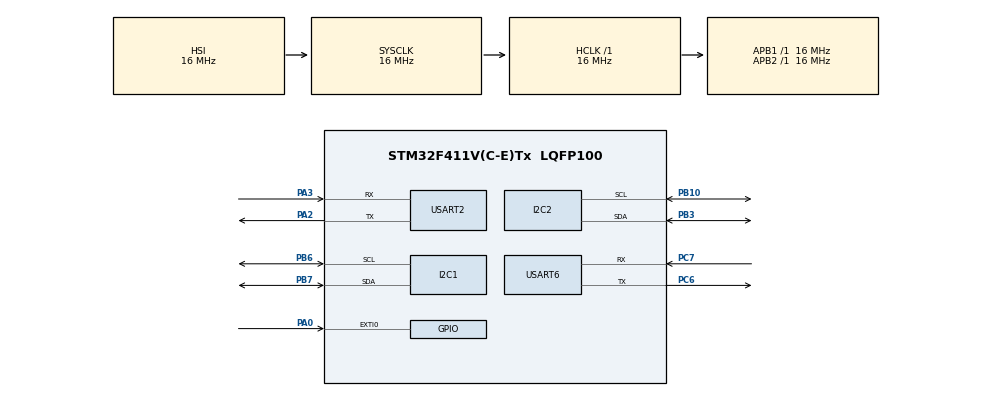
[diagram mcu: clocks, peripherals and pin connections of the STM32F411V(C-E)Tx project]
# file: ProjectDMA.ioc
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Dma.I2C1_RX.0.Direction=DMA_PERIPH_TO_MEMORY
Dma.I2C1_RX.0.FIFOMode=DMA_FIFOMODE_DISABLE
Dma.I2C1_RX.0.Instance=DMA1_Stream0
Dma.I2C1_RX.0.MemDataAlignment=DMA_MDATAALIGN_BYTE
Dma.I2C1_RX.0.MemInc=DMA_MINC_ENABLE
Dma.I2C1_RX.0.Mode=DMA_NORMAL
Dma.I2C1_RX.0.PeriphDataAlignment=DMA_PDATAALIGN_BYTE
Dma.I2C1_RX.0.PeriphInc=DMA_PINC_DISABLE
Dma.I2C1_RX.0.Priority=DMA_PRIORITY_MEDIUM
Dma.I2C1_TX.1.Direction=DMA_MEMORY_TO_PERIPH
Dma.I2C1_TX.1.FIFOMode=DMA_FIFOMODE_DISABLE
Dma.I2C1_TX.1.Instance=DMA1_Stream1
Dma.I2C1_TX.1.MemDataAlignment=DMA_MDATAALIGN_BYTE
Dma.I2C1_TX.1.MemInc=DMA_MINC_ENABLE
Dma.I2C1_TX.1.Mode=DMA_NORMAL
Dma.I2C1_TX.1.PeriphDataAlignment=DMA_PDATAALIGN_BYTE
Dma.I2C1_TX.1.PeriphInc=DMA_PINC_DISABLE
Dma.I2C1_TX.1.Priority=DMA_PRIORITY_MEDIUM
Dma.I2C2_RX.2.Direction=DMA_PERIPH_TO_MEMORY
Dma.I2C2_RX.2.FIFOMode=DMA_FIFOMODE_DISABLE
Dma.I2C2_RX.2.Instance=DMA1_Stream2
Dma.I2C2_RX.2.MemDataAlignment=DMA_MDATAALIGN_BYTE
Dma.I2C2_RX.2.MemInc=DMA_MINC_ENABLE
Dma.I2C2_RX.2.Mode=DMA_NORMAL
Dma.I2C2_RX.2.PeriphDataAlignment=DMA_PDATAALIGN_BYTE
Dma.I2C2_RX.2.PeriphInc=DMA_PINC_DISABLE
Dma.I2C2_RX.2.Priority=DMA_PRIORITY_MEDIUM
Dma.I2C2_TX.3.Direction=DMA_MEMORY_TO_PERIPH
Dma.I2C2_TX.3.FIFOMode=DMA_FIFOMODE_DISABLE
Dma.I2C2_TX.3.Instance=DMA1_Stream7
Dma.I2C2_TX.3.MemDataAlignment=DMA_MDATAALIGN_BYTE
Dma.I2C2_TX.3.MemInc=DMA_MINC_ENABLE
Dma.I2C2_TX.3.Mode=DMA_NORMAL
Dma.I2C2_TX.3.PeriphDataAlignment=DMA_PDATAALIGN_BYTE
Dma.I2C2_TX.3.PeriphInc=DMA_PINC_DISABLE
Dma.I2C2_TX.3.Priority=DMA_PRIORITY_MEDIUM
Dma.Request0=I2C1_RX
Dma.Request1=I2C1_TX
Dma.Request2=I2C2_RX
Dma.Request3=I2C2_TX
Mcu.Family=STM32F4
Mcu.Name=STM32F411V(C-E)Tx
Mcu.Package=LQFP100
NVIC.DMA1_Stream0_IRQn=true\:0\:0\:false\:false\:true\:true\:false\:true\:true
NVIC.DMA1_Stream1_IRQn=true\:0\:0\:false\:false\:true\:true\:false\:true\:true
NVIC.DMA1_Stream2_IRQn=true\:0\:0\:false\:false\:true\:true\:false\:true\:true
NVIC.DMA1_Stream7_IRQn=true\:0\:0\:false\:false\:true\:true\:false\:true\:true
NVIC.EXTI0_IRQn=true\:0\:0\:false\:false\:true\:false\:true\:true\:true
NVIC.I2C1_ER_IRQn=true\:0\:0\:false\:false\:true\:false\:true\:true\:true
NVIC.I2C1_EV_IRQn=true\:0\:0\:false\:false\:true\:false\:true\:true\:true
NVIC.I2C2_ER_IRQn=true\:0\:0\:false\:false\:true\:false\:true\:true\:true
NVIC.I2C2_EV_IRQn=true\:0\:0\:false\:false\:true\:false\:true\:true\:true
NVIC.PriorityGroup=NVIC_PRIORITYGROUP_4
PA0-WKUP.GPIO_PuPd=GPIO_PULLDOWN
PA0-WKUP.Signal=GPXTI0
PA2.Mode=Asynchronous
PA2.Signal=USART2_TX
PA3.Mode=Asynchronous
PA3.Signal=USART2_RX
PB10.Mode=I2C
PB10.Signal=I2C2_SCL
PB3.Mode=I2C
PB3.Signal=I2C2_SDA
PB6.Mode=I2C
PB6.Signal=I2C1_SCL
PB7.Mode=I2C
PB7.Signal=I2C1_SDA
PC6.Mode=Asynchronous
PC6.Signal=USART6_TX
PC7.Mode=Asynchronous
PC7.Signal=USART6_RX
PH0\ -\ OSC_IN.Mode=HSE-External-Oscillator
PH0\ -\ OSC_IN.Signal=RCC_OSC_IN
PH1\ -\ OSC_OUT.Mode=HSE-External-Oscillator
PH1\ -\ OSC_OUT.Signal=RCC_OSC_OUT
ProjectManager.HeapSize=0x200
ProjectManager.StackSize=0x400
ProjectManager.TargetToolchain=STM32CubeIDE
RCC.AHBFreq_Value=16000000
RCC.APB1Freq_Value=16000000
RCC.APB2Freq_Value=16000000
RCC.CortexFreq_Value=16000000
RCC.HSE_VALUE=25000000
RCC.HSI_VALUE=16000000
RCC.LSE_VALUE=32768
RCC.SYSCLKFreq_VALUE=16000000
RCC.VCOOutputFreq_Value=192000000
RealThread.X-CUBE-RT-Thread_Nano.4.1.1.RTAaThreadCcRTOSJjdevice=true
RealThread.X-CUBE-RT-Thread_Nano.4.1.1.RTAaThreadCcRTOSJjkernel=true
RealThread.X-CUBE-RT-Thread_Nano.4.1.1.RTAaThreadCcRTOSJjlibcpu=true
RealThread.X-CUBE-RT-Thread_Nano.4.1.1.RTAaThreadCcRTOSJjshell=true
USART2.VirtualMode=VM_ASYNC
USART6.VirtualMode=VM_ASYNC
VP_RealThread.X-CUBE-RT-Thread_Nano_VS_RTOSJjRTAaThread_4.1.1_4.1.1.Mode=RTOSJjRTAaThread
board=custom

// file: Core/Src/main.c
/* USER CODE BEGIN Header */
/**
  ******************************************************************************
  * @file           : main.c
  * @brief          : Main program body
  ******************************************************************************
  * @attention
  *
  * Copyright (c) 2026 STMicroelectronics.
  * All rights reserved.
  *
  * This software is licensed under terms that can be found in the LICENSE file
  * in the root directory of this software component.
  * If no LICENSE file comes with this software, it is provided AS-IS.
  *
  ******************************************************************************
  */
/* USER CODE END Header */
#include "main.h"

/* USER CODE BEGIN Includes */
#include <string.h>
#include <stdio.h>
#include "rtthread.h"
/* USER CODE END Includes */

/* USER CODE BEGIN PTD */
/*
 * ADS1115 dùng địa chỉ 7-bit, HAL STM32 yêu cầu "địa chỉ 8-bit" (7-bit << 1).
 * - ADS1_ADDR: ADS1115 #1 (ADDR = GND => 0x48)
 * - ADS2_ADDR: ADS1115 #2 (ADDR = VDD => 0x49)
 */
#define ADS1_ADDR   (0x48 << 1) // Địa chỉ I2C của ADS1115 1
#define ADS2_ADDR   (0x49 << 1) // Địa chỉ I2C của ADS1115 2
/* USER CODE END PTD */

I2C_HandleTypeDef hi2c1;
I2C_HandleTypeDef hi2c2;
DMA_HandleTypeDef hdma_i2c1_rx;
DMA_HandleTypeDef hdma_i2c1_tx;
DMA_HandleTypeDef hdma_i2c2_rx;
DMA_HandleTypeDef hdma_i2c2_tx;

UART_HandleTypeDef huart2;
UART_HandleTypeDef huart6;

/* USER CODE BEGIN PV */
extern UART_HandleTypeDef *Target_UART;
// BIẾN CHO ADS1 (I2C1, địa chỉ ADS1_ADDR)
static struct rt_semaphore ads1_sem;
static uint8_t ads1_tx_buf[4];      // Buffer TX DMA (gửi thanh ghi + data)
static uint8_t ads1_rx_buf[4];      // Buffer RX DMA (nhận dữ liệu 2 byte)
static int16_t ads1_raw_val[4];     // Giá trị ADC thô (signed 16-bit)
static float ads1_vol_val[4];       // Giá trị quy đổi điện áp

// BIẾN CHO ADS2 (I2C2, địa chỉ ADS2_ADDR)
static struct rt_semaphore ads2_sem;
static uint8_t ads2_tx_buf[4];      // Buffer TX DMA
static uint8_t ads2_rx_buf[4];      // Buffer RX DMA
static int16_t ads2_raw_val[4];     // Giá trị ADC thô
static float ads2_vol_val[4];       // Giá trị quy đổi điện áp

// THREAD: mỗi ADS 1 thread + stack riêng
static struct rt_thread thread1;
static uint8_t stack1[1024];        // Stack cho thread ADS1

static struct rt_thread thread2;
static uint8_t stack2[1024];        // Stack cho thread ADS2
/* USER CODE END PV */

void SystemClock_Config(void);
static void MX_GPIO_Init(void);
static void MX_DMA_Init(void);
static void MX_I2C1_Init(void);
static void MX_I2C2_Init(void);
static void MX_USART2_UART_Init(void);
static void MX_USART6_UART_Init(void);

/* USER CODE BEGIN 0 */
// CALLBACK DMA CHO I2C
void HAL_I2C_MasterTxCpltCallback(I2C_HandleTypeDef *hi2c)
{
    // DMA transmit hoàn tất trên I2C nào thì release semaphore của I2C đó
    if (hi2c->Instance == I2C1) rt_sem_release(&ads1_sem);
    if (hi2c->Instance == I2C2) rt_sem_release(&ads2_sem);
}

void HAL_I2C_MasterRxCpltCallback(I2C_HandleTypeDef *hi2c)
{
    // DMA receive hoàn tất
    if (hi2c->Instance == I2C1) rt_sem_release(&ads1_sem);
    if (hi2c->Instance == I2C2) rt_sem_release(&ads2_sem);
}

void HAL_I2C_ErrorCallback(I2C_HandleTypeDef *hi2c)
{
    // Có lỗi I2C: cũng release để thread không bị kẹt chờ semaphore
    if (hi2c->Instance == I2C1) rt_sem_release(&ads1_sem);
    if (hi2c->Instance == I2C2) rt_sem_release(&ads2_sem);
}

// HÀM GIAO TIẾP I2C + DMA CHO ADS1
static rt_err_t ads1_write_reg(uint8_t *data, uint16_t len)
{
    // Copy sang buffer riêng để DMA dùng (tránh data stack bị thay đổi)
    memcpy(ads1_tx_buf, data, len);

    // Gửi dữ liệu bằng DMA (non-blocking)
    if (HAL_I2C_Master_Transmit_DMA(&hi2c1, ADS1_ADDR,
                                    ads1_tx_buf, len) != HAL_OK)
        return RT_ERROR;

    // Chờ semaphore được release trong callback (timeout 100ms)
    return rt_sem_take(&ads1_sem, rt_tick_from_millisecond(100));
}

static rt_err_t ads1_read_reg(uint8_t reg, int16_t *val)
{
    // Chọn thanh ghi cần đọc
    ads1_tx_buf[0] = reg;

    if (HAL_I2C_Master_Transmit_DMA(&hi2c1, ADS1_ADDR,
                                    ads1_tx_buf, 1) != HAL_OK)
        return RT_ERROR;

    // Chờ TX xong (timeout 50ms)
    if (rt_sem_take(&ads1_sem, rt_tick_from_millisecond(50)) != RT_EOK)
        return RT_ETIMEOUT;

    // Đọc 2 byte dữ liệu từ thanh ghi vừa chọn
    if (HAL_I2C_Master_Receive_DMA(&hi2c1, ADS1_ADDR,
                                   ads1_rx_buf, 2) != HAL_OK)
        return RT_ERROR;

    // Chờ RX xong (timeout 50ms)
    if (rt_sem_take(&ads1_sem, rt_tick_from_millisecond(50)) != RT_EOK)
        return RT_ETIMEOUT;

    // Ghép MSB/LSB thành signed 16-bit (ADS1115 trả về big-endian)
    *val = (int16_t)((ads1_rx_buf[0] << 8) | ads1_rx_buf[1]);
    return RT_EOK;
}

// HÀM GIAO TIẾP I2C + DMA CHO ADS2
static rt_err_t ads2_write_reg(uint8_t *data, uint16_t len)
{
    // Copy sang buffer DMA riêng
    memcpy(ads2_tx_buf, data, len);

    // Gửi DMA
    if (HAL_I2C_Master_Transmit_DMA(&hi2c2, ADS2_ADDR,
                                    ads2_tx_buf, len) != HAL_OK)
        return RT_ERROR;

    // Chờ TX xong
    return rt_sem_take(&ads2_sem, rt_tick_from_millisecond(100));
}

static rt_err_t ads2_read_reg(uint8_t reg, int16_t *val)
{
    // Chọn thanh ghi cần đọc
    ads2_tx_buf[0] = reg;

    if (HAL_I2C_Master_Transmit_DMA(&hi2c2, ADS2_ADDR,
                                    ads2_tx_buf, 1) != HAL_OK)
        return RT_ERROR;

    // Chờ TX xong
    if (rt_sem_take(&ads2_sem, rt_tick_from_millisecond(50)) != RT_EOK)
        return RT_ETIMEOUT;

    // Đọc 2 byte
    if (HAL_I2C_Master_Receive_DMA(&hi2c2, ADS2_ADDR,
                                   ads2_rx_buf, 2) != HAL_OK)
        return RT_ERROR;

    // Chờ RX xong
    if (rt_sem_take(&ads2_sem, rt_tick_from_millisecond(50)) != RT_EOK)
        return RT_ETIMEOUT;

    // Ghép dữ liệu
    *val = (int16_t)((ads2_rx_buf[0] << 8) | ads2_rx_buf[1]);
    return RT_EOK;
}

// THREAD ENTRY: ADS1
static void ads1_thread_entry(void *parameter)
{
    (void)parameter;
    // MUX bits cho AIN0/AIN1/AIN2/AIN3 single-ended (datasheet ADS1115)
    uint16_t mux[4] = {0x4000, 0x5000, 0x6000, 0x7000};
    while (1)
    {
        for (int i = 0; i < 4; i++)
        {
            uint16_t config = 0x8383 | mux[i];
            uint8_t data[3];

            // Ghi Config Register (0x01)
            data[0] = 0x01;
            data[1] = config >> 8;
            data[2] = config & 0xFF;

            // Gửi cấu hình (I2C DMA) và chỉ đọc khi cấu hình ghi OK
            if (ads1_write_reg(data, 3) == RT_EOK)
            {
                // Chờ ADC chuyển đổi (10ms) - tuỳ data rate có thể điều chỉnh
                rt_thread_mdelay(10);

                int16_t raw;
                // Đọc Conversion Register (0x00)
                if (ads1_read_reg(0x00, &raw) == RT_EOK)
                {
                    // Lưu raw và quy đổi điện áp (hệ số phụ thuộc PGA/FSR)
                    ads1_raw_val[i] = raw;
                    ads1_vol_val[i] = raw * 0.000125f;
                }
            }
        }

        // In kết quả 2 kênh của ADS1

        Target_UART = &huart2;
        uint32_t current_tick = rt_tick_get();
		// In ra màn hình kèm theo giá trị Tick
		printf("[Tick: %lu] ADS1 Ch0: %d   Ch1: %d\r\n",
			   current_tick, ads1_raw_val[0], ads1_raw_val[1]);
		printf("[Tick: %lu] VOL1 Ch0: %f   Ch1: %f\r\n\n",
			   current_tick, ads1_vol_val[0], ads1_vol_val[1]);
        rt_thread_mdelay(2000);		// Tự ngủ 2 giây
    }
}

// THREAD ENTRY: ADS2

static void ads2_thread_entry(void *parameter)
{
    (void)parameter;
    // MUX bits cho 4 kênh single-ended
    uint16_t mux[4] = {0x4000, 0x5000, 0x6000, 0x7000};

    while (1)
    {
        for (int i = 0; i < 4; i++)
        {
            uint16_t config = 0x8383 | mux[i];
            uint8_t data[3];

            // Ghi Config Register (0x01)
            data[0] = 0x01;
            data[1] = config >> 8;
            data[2] = config & 0xFF;

            // Gửi cấu hình và đọc conversion
            if (ads2_write_reg(data, 3) == RT_EOK)
            {
                // Chờ ADC chuyển đổi
                rt_thread_mdelay(10);

                int16_t raw;
                // Đọc Conversion Register (0x00)
                if (ads2_read_reg(0x00, &raw) == RT_EOK)
                {
                    // Lưu raw và điện áp
                    ads2_raw_val[i] = raw;
                    ads2_vol_val[i] = raw * 0.000125f;
                }
            }
        }

        // In kết quả 4 kênh của ADS2
        Target_UART = &huart6;
        uint32_t current_tick = rt_tick_get();

		// In ra màn hình kèm theo giá trị Tick
		printf("[Tick: %lu] ADS2 Ch0: %d   Ch1: %d\r\n",
			   current_tick, ads2_raw_val[0], ads2_raw_val[1]);
		printf("[Tick: %lu] VOL2 Ch0: %f   Ch1: %f\r\n\n",
			   current_tick, ads2_vol_val[0], ads2_vol_val[1]);
        rt_thread_mdelay(2000);		// Tự ngủ 2 giây
    }
}
/* USER CODE END 0 */

int main(void)
{

  /* MCU Configuration--------------------------------------------------------*/

  /* Reset of all peripherals, Initializes the Flash interface and the Systick. */
  HAL_Init();

  /* Configure the system clock */
  SystemClock_Config();

  /* Initialize all configured peripherals */
  MX_GPIO_Init();
  MX_DMA_Init();
  MX_I2C1_Init();
  MX_I2C2_Init();
  MX_USART2_UART_Init();
  MX_USART6_UART_Init();
  /* USER CODE BEGIN 2 */
  // Thông báo boot
  printf("BOOT OK!!!\r\n");

  // Khởi tạo RT-Thread
  __disable_irq();
  rt_system_timer_init();       // Khởi tạo tick timer cho RT-Thread
  rt_system_scheduler_init();   // Khởi tạo scheduler
  rt_thread_idle_init();        // Khởi tạo idle thread
  __enable_irq();

  // IPC: semaphore cho DMA complete
  // ADS1
  rt_sem_init(&ads1_sem, "sem1", 0, RT_IPC_FLAG_FIFO);
  memset(ads1_raw_val, 0, sizeof(ads1_raw_val));
  memset(ads1_vol_val, 0, sizeof(ads1_vol_val));

  // ADS2
  rt_sem_init(&ads2_sem, "sem2", 0, RT_IPC_FLAG_FIFO);
  memset(ads2_raw_val, 0, sizeof(ads2_raw_val));
  memset(ads2_vol_val, 0, sizeof(ads2_vol_val));

  // Thread ADS1
  rt_thread_init(&thread1, "t1",
                 ads1_thread_entry, RT_NULL,
                 stack1, sizeof(stack1), 10, 10);
  rt_thread_startup(&thread1);

  // Thread ADS2
  rt_thread_init(&thread2, "t2",
                 ads2_thread_entry, RT_NULL,
                 stack2, sizeof(stack2), 10, 10);
  rt_thread_startup(&thread2);

  // Start scheduler
  rt_system_scheduler_start();
  /* USER CODE END 2 */

  /* Infinite loop */
  while (1)
  {

  }
}

void SystemClock_Config(void)
{
  RCC_OscInitTypeDef RCC_OscInitStruct = {0};
  RCC_ClkInitTypeDef RCC_ClkInitStruct = {0};

  /** Configure the main internal regulator output voltage
  */
  __HAL_RCC_PWR_CLK_ENABLE();
  __HAL_PWR_VOLTAGESCALING_CONFIG(PWR_REGULATOR_VOLTAGE_SCALE1);

  /** Initializes the RCC Oscillators according to the specified parameters
  * in the RCC_OscInitTypeDef structure.
  */
  RCC_OscInitStruct.OscillatorType = RCC_OSCILLATORTYPE_HSI;
  RCC_OscInitStruct.HSIState = RCC_HSI_ON;
  RCC_OscInitStruct.HSICalibrationValue = RCC_HSICALIBRATION_DEFAULT;
  RCC_OscInitStruct.PLL.PLLState = RCC_PLL_NONE;
  if (HAL_RCC_OscConfig(&RCC_OscInitStruct) != HAL_OK)
  {
    Error_Handler();
  }

  /** Initializes the CPU, AHB and APB buses clocks
  */
  RCC_ClkInitStruct.ClockType = RCC_CLOCKTYPE_HCLK|RCC_CLOCKTYPE_SYSCLK
                              |RCC_CLOCKTYPE_PCLK1|RCC_CLOCKTYPE_PCLK2;
  RCC_ClkInitStruct.SYSCLKSource = RCC_SYSCLKSOURCE_HSI;
  RCC_ClkInitStruct.AHBCLKDivider = RCC_SYSCLK_DIV1;
  RCC_ClkInitStruct.APB1CLKDivider = RCC_HCLK_DIV1;
  RCC_ClkInitStruct.APB2CLKDivider = RCC_HCLK_DIV1;

  if (HAL_RCC_ClockConfig(&RCC_ClkInitStruct, FLASH_LATENCY_0) != HAL_OK)
  {
    Error_Handler();
  }
}

static void MX_I2C1_Init(void)
{

  hi2c1.Instance = I2C1;
  hi2c1.Init.ClockSpeed = 100000;
  hi2c1.Init.DutyCycle = I2C_DUTYCYCLE_2;
  hi2c1.Init.OwnAddress1 = 0;
  hi2c1.Init.AddressingMode = I2C_ADDRESSINGMODE_7BIT;
  hi2c1.Init.DualAddressMode = I2C_DUALADDRESS_DISABLE;
  hi2c1.Init.OwnAddress2 = 0;
  hi2c1.Init.GeneralCallMode = I2C_GENERALCALL_DISABLE;
  hi2c1.Init.NoStretchMode = I2C_NOSTRETCH_DISABLE;
  if (HAL_I2C_Init(&hi2c1) != HAL_OK)
  {
    Error_Handler();
  }

}

static void MX_I2C2_Init(void)
{

  hi2c2.Instance = I2C2;
  hi2c2.Init.ClockSpeed = 100000;
  hi2c2.Init.DutyCycle = I2C_DUTYCYCLE_2;
  hi2c2.Init.OwnAddress1 = 0;
  hi2c2.Init.AddressingMode = I2C_ADDRESSINGMODE_7BIT;
  hi2c2.Init.DualAddressMode = I2C_DUALADDRESS_DISABLE;
  hi2c2.Init.OwnAddress2 = 0;
  hi2c2.Init.GeneralCallMode = I2C_GENERALCALL_DISABLE;
  hi2c2.Init.NoStretchMode = I2C_NOSTRETCH_DISABLE;
  if (HAL_I2C_Init(&hi2c2) != HAL_OK)
  {
    Error_Handler();
  }

}

static void MX_USART2_UART_Init(void)
{

  huart2.Instance = USART2;
  huart2.Init.BaudRate = 115200;
  huart2.Init.WordLength = UART_WORDLENGTH_8B;
  huart2.Init.StopBits = UART_STOPBITS_1;
  huart2.Init.Parity = UART_PARITY_NONE;
  huart2.Init.Mode = UART_MODE_TX_RX;
  huart2.Init.HwFlowCtl = UART_HWCONTROL_NONE;
  huart2.Init.OverSampling = UART_OVERSAMPLING_16;
  if (HAL_UART_Init(&huart2) != HAL_OK)
  {
    Error_Handler();
  }

}

static void MX_USART6_UART_Init(void)
{

  huart6.Instance = USART6;
  huart6.Init.BaudRate = 115200;
  huart6.Init.WordLength = UART_WORDLENGTH_8B;
  huart6.Init.StopBits = UART_STOPBITS_1;
  huart6.Init.Parity = UART_PARITY_NONE;
  huart6.Init.Mode = UART_MODE_TX_RX;
  huart6.Init.HwFlowCtl = UART_HWCONTROL_NONE;
  huart6.Init.OverSampling = UART_OVERSAMPLING_16;
  if (HAL_UART_Init(&huart6) != HAL_OK)
  {
    Error_Handler();
  }

}

static void MX_DMA_Init(void)
{

  /* DMA controller clock enable */
  __HAL_RCC_DMA1_CLK_ENABLE();

  /* DMA interrupt init */
  /* DMA1_Stream0_IRQn interrupt configuration */
  HAL_NVIC_SetPriority(DMA1_Stream0_IRQn, 0, 0);
  HAL_NVIC_EnableIRQ(DMA1_Stream0_IRQn);
  /* DMA1_Stream1_IRQn interrupt configuration */
  HAL_NVIC_SetPriority(DMA1_Stream1_IRQn, 0, 0);
  HAL_NVIC_EnableIRQ(DMA1_Stream1_IRQn);
  /* DMA1_Stream2_IRQn interrupt configuration */
  HAL_NVIC_SetPriority(DMA1_Stream2_IRQn, 0, 0);
  HAL_NVIC_EnableIRQ(DMA1_Stream2_IRQn);
  /* DMA1_Stream7_IRQn interrupt configuration */
  HAL_NVIC_SetPriority(DMA1_Stream7_IRQn, 0, 0);
  HAL_NVIC_EnableIRQ(DMA1_Stream7_IRQn);

}

static void MX_GPIO_Init(void)
{
  GPIO_InitTypeDef GPIO_InitStruct = {0};

  /* GPIO Ports Clock Enable */
  __HAL_RCC_GPIOH_CLK_ENABLE();
  __HAL_RCC_GPIOA_CLK_ENABLE();
  __HAL_RCC_GPIOB_CLK_ENABLE();
  __HAL_RCC_GPIOC_CLK_ENABLE();

  /*Configure GPIO pin : PA0 */
  GPIO_InitStruct.Pin = GPIO_PIN_0;
  GPIO_InitStruct.Mode = GPIO_MODE_IT_RISING;
  GPIO_InitStruct.Pull = GPIO_PULLDOWN;
  HAL_GPIO_Init(GPIOA, &GPIO_InitStruct);

  /* EXTI interrupt init*/
  HAL_NVIC_SetPriority(EXTI0_IRQn, 0, 0);
  HAL_NVIC_EnableIRQ(EXTI0_IRQn);

}

void Error_Handler(void)
{
  /* USER CODE BEGIN Error_Handler_Debug */
  /* User can add his own implementation to report the HAL error return state */
  __disable_irq();
  while (1)
  {
    // Lỗi nghiêm trọng: ở đây giữ CPU trong vòng lặp vô hạn để debug.
  }
  /* USER CODE END Error_Handler_Debug */
}
